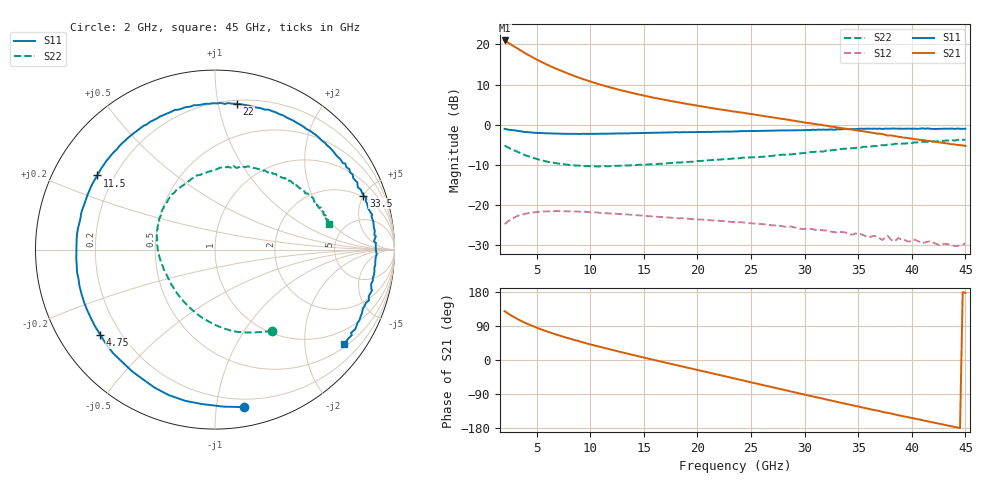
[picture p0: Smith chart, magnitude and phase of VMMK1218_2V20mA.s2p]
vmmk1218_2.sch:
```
<Qucs Schematic 0.0.18>
<Properties>
  <View=0,-120,890,1532,1,84,0>
  <Grid=10,10,1>
  <DataSet=vmmk1218_2.dat>
  <DataDisplay=vmmk1218_2.dpl>
  <OpenDisplay=1>
  <Script=vmmk1218_2.m>
  <RunScript=0>
  <showFrame=0>
  <FrameText0=Title>
  <FrameText1=Drawn By:>
  <FrameText2=Date:>
  <FrameText3=Revision:>
</Properties>
<Symbol>
</Symbol>
<Components>
  <Pac P1 1 140 150 18 -26 0 1 "1" 1 "50 Ohm" 1 "0 dBm" 0 "1 GHz" 0 "26.85" 0>
  <GND * 1 140 180 0 0 0 0>
  <SPfile X1 1 350 120 -26 -53 0 0 "VMMK1218_2V20mA.s2p" 1 "rectangular" 0 "linear" 0 "open" 0 "2" 0>
  <MVIA MS4 1 300 300 -123 0 1 2 "RO4350_1" 1 "0.254 mm" 1 "26.85" 0>
  <MVIA MS1 1 300 210 -123 0 1 2 "RO4350_1" 1 "0.254 mm" 1 "26.85" 0>
  <TLIN Line2 1 350 270 20 -26 0 1 "60 Ohm" 1 "0.636 mm" 1 "0 dB" 0 "26.85" 0>
  <MVIA MS6 1 540 210 20 0 0 0 "RO4350_1" 1 "0.254 mm" 1 "26.85" 0>
  <MVIA MS8 1 540 300 20 0 0 0 "RO4350_1" 1 "0.254 mm" 1 "26.85" 0>
  <TLIN Line1 1 350 180 20 -26 0 1 "60 Ohm" 1 "0.317 mm" 1 "0 dB" 0 "26.85" 0>
  <.SP SP3 0 120 700 0 63 0 0 "lin" 1 "100MHz" 1 "2000MHz" 1 "200" 1 "yes" 0 "1" 0 "2" 0 "no" 0 "no" 0>
  <.SP SP2 1 120 560 0 63 0 0 "const" 1 "0.03 GHz" 0 "12 GHz" 0 "[11GHz]" 1 "yes" 0 "1" 0 "2" 0 "no" 0 "no" 0>
  <Eqn Eqn2 1 330 560 -28 15 0 0 "GA=GaCircle(S,linspace(1,20,20))" 1 "GP=GpCircle(S,linspace(1,20,20))" 1 "SL=StabCircleL(S)" 1 "SG=StabCircleS(S)" 1 "NF=NoiseCircle(Sopt,Fmin,Rn,[Fmin,1.2, 1.25, 1.3,1.4,1.5])" 1 "yes" 0>
  <TLIN Line6 1 270 120 -26 -68 0 2 "50 Ohm" 1 "2.7 mm" 1 "0 dB" 0 "26.85" 0>
  <TLIN Line5 1 220 50 -86 -26 1 1 "50 Ohm" 1 "2.57 mm" 1 "0 dB" 0 "26.85" 0>
  <Eqn Eqn1 1 320 380 -28 15 0 0 "K=StabFactor(S)" 1 "S11db=dB(S[1,1])" 1 "S21db=dB(S[2,1])" 1 "S22db=dB(S[2,2])" 1 "Fmindb=w2dbm(Fmin)-30" 1 "Fdb=w2dbm(F)-30" 1 "yes" 0>
  <.SP SP1 0 120 380 0 63 0 0 "lin" 1 "0.03 GHz" 1 "30 GHz" 1 "200" 1 "yes" 0 "1" 0 "2" 0 "no" 0 "no" 0>
  <TLIN Line3 1 490 180 20 -26 1 3 "60 Ohm" 0 "0.317 mm" 0 "0 dB" 0 "26.85" 0>
  <TLIN Line4 1 490 270 20 -26 0 1 "60 Ohm" 0 "0.636 mm" 0 "0 dB" 0 "26.85" 0>
  <SUBST RO4350_1 1 650 420 -30 24 0 0 "3.48" 1 "0.254 mm" 1 "35 um" 1 "0.004" 1 "0.022e-6" 1 "1.4e-6" 1>
  <Pac P2 1 740 150 18 -26 0 1 "2" 1 "50 Ohm" 1 "0 dBm" 0 "1 GHz" 0 "26.85" 0>
  <GND * 1 740 170 0 0 0 0>
  <TLIN Line8 0 690 50 20 -26 1 3 "50 Ohm" 1 "2.85 mm" 1 "0 dB" 0 "26.85" 0>
  <TLIN Line7 1 570 120 -26 -68 0 2 "50 Ohm" 1 "1.0 mm" 1 "0 dB" 0 "26.85" 0>
  <TLIN Line9 2 630 120 -26 20 1 2 "50 Ohm" 1 "3.0 mm" 1 "0 dB" 0 "26.85" 0>
</Components>
<Wires>
  <320 210 350 210 "" 0 0 0 "">
  <350 210 350 240 "" 0 0 0 "">
  <320 300 350 300 "" 0 0 0 "">
  <350 150 490 150 "" 0 0 0 "">
  <490 210 520 210 "" 0 0 0 "">
  <490 210 490 240 "" 0 0 0 "">
  <490 300 520 300 "" 0 0 0 "">
  <300 120 320 120 "" 0 0 0 "">
  <140 120 220 120 "" 0 0 0 "">
  <220 120 240 120 "" 0 0 0 "">
  <220 80 220 120 "" 0 0 0 "">
  <740 170 740 180 "" 0 0 0 "">
  <690 120 740 120 "" 0 0 0 "">
  <690 80 690 120 "" 0 0 0 "">
  <380 120 540 120 "" 0 0 0 "">
  <660 120 690 120 "" 0 0 0 "">
</Wires>
<Diagrams>
</Diagrams>
<Paintings>
  <Text 380 550 12 #ff0000 0 "Deactivate, if simulation other than\nSP2 is used">
  <Text 170 -30 14 #000000 0 "Stage-1 as Small Signal Amp with Matching Network For 50Ω">
  <Text 560 0 12 #ff0000 0 "Switch, if match for 50Ω or 1mm-line\nshall be used">
  <Arrow 620 50 10 50 20 8 #000000 0 1 0>
  <Arrow 630 50 40 10 20 8 #000000 0 1 0>
</Paintings>
```
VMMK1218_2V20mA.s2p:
!Mon 10/Sep/2007 11:11:59
!Comment:  300um GSG cal using PCB - TRL cal standard, VMMK1218
! Vd(V)  IVd(mA)  Vg(V)  IVg(mA)
!2  20.29  0.5799  0
!Freq(GHZ)  S11(mag)  S11(ang)  S21(mag)  S21(ang)  S12(mag)  S12(ang)  S22(mag)  S22(ang)
#  GHZ  S  MA  R  50
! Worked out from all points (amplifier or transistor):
!   173 points, 2 GHz to 45 GHz, reference 50 ohm
!   highest |S21| = 21.0 dB at 2 GHz (marker M1)
!   |S21| within 3 dB of that: start of sweep to 3.814 GHz
!   unconditionally stable (mu >= 1): 18.24 GHz to 18.38 GHz; 18.78 GHz to end of sweep
!   at 9 GHz: K = 0.50, MSG = 16.6 dB, |S12| = -21.6 dB
!   at 23.5 GHz: K = 1.26, MAG = 10.7 dB, |S12| = -24.2 dB
!   at 45 GHz: K = 2.60, MAG = 5.1 dB, |S12| = -29.4 dB
!   lowest NFmin = 0.17 dB at 2 GHz
!   S11 on the Smith chart (normalised r, x): 2 GHz: 0.14, -1.19; 4.75 GHz: 0.13, -0.33; 11.5 GHz: 0.14, +0.28; 22 GHz: 0.23, +1.13; 33.5 GHz: 1.88, +4.99; 45 GHz: 0.57, -2.97
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2  0.8921 -79.6  11.22 128.9  0.058 43.8  0.5531 -54.9
3.25  0.8395 -113.6  8.83 107.5  0.0739 25.0  0.4596 -79.0
4.75  0.7965 -143.3  6.753 87.9  0.0815 9.3  0.3844 -101.3
6  0.7836 -161.7  5.574 74.8  0.0837 -0.7  0.3476 -115.6
7.5  0.7725 -179.1  4.564 61.1  0.0841 -10.9  0.3238 -130.1
11.5  0.776 147.8  3.016 30.4  0.0793 -31.4  0.3055 -160.7
16.25  0.7987 116.8  2.132 -1.9  0.0717 -51.0  0.3244 172.1
22  0.8216 81.6  1.565 -39.2  0.064 -73.0  0.3681 141.0
23.5  0.828 72.2  1.457 -49.1  0.0618 -79.0  0.3819 132.3
33.5  0.8794 20.0  0.9084 -113.5  0.0464 -126.1  0.5012 67.0
45  0.893 -36.1  0.5464 177.1  0.0337 158.3  0.6512 12.7
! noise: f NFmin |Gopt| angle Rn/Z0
2  0.17  0.727  30.9  0.1
3  0.24  0.624  46.2  0.1
5  0.38  0.457  75.8  0.08
7  0.51  0.344  104.1  0.07
8  0.58  0.307  117.8  0.07
10  0.72  0.273  144.3  0.06
12  0.85  0.292  169.6  0.06
13  0.92  0.322  -178.2  0.06
15  1.05  0.421  -154.8  0.06
17  1.19  0.573  -132.6  0.08
